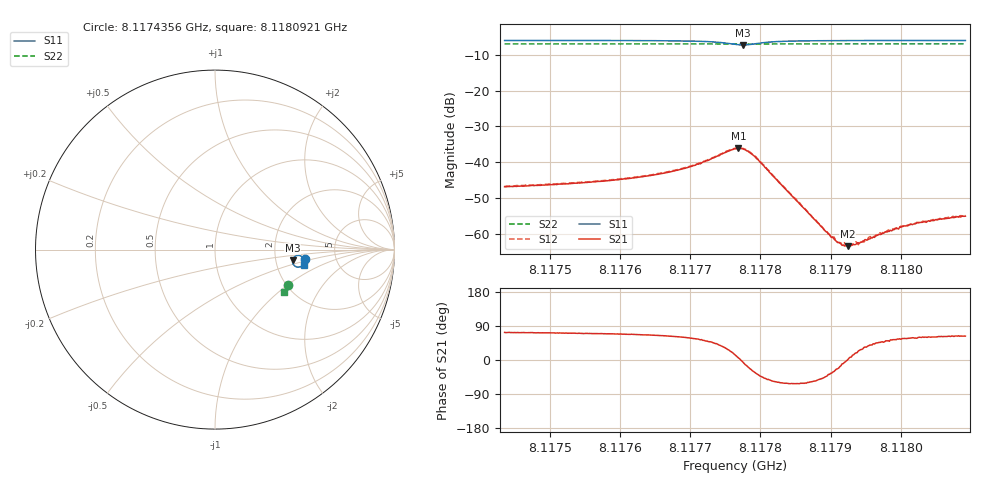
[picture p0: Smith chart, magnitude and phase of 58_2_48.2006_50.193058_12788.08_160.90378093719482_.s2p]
#  HZ  S  RI  R  50.00
! Rohde & Schwarz Vector Network Analyzer
! Rohde-Schwarz,ZNB20-2Port,1311601062101988,3.16
! Created: UTC 3/20/2024, 11:38:39 AM
! freq[Hz]  re:S11  im:S11  re:S21  im:S21  re:S12  im:S12  re:S22  im:S22
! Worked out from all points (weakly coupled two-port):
!   401 points, 8.1174356 GHz to 8.1180921 GHz, reference 50 ohm
!   highest |S21| = -36.16 dB at 8.1177687 GHz (marker M1); lowest = -63.5 dB at 8.1179247 GHz (marker M2)
!   lowest |S11| = -7.2 dB at 8.1177753 GHz (marker M3), VSWR 2.55, Z = 124 - j18.4 ohm
!   |S11| at or under -10 dB: nowhere
!   |S22| runs from -6.9 to -6.9 dB; largest |S21 - S12| = 0.0005
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8.11743558e9  0.5025 -0.0522  0.00134 0.00433  0.00139 0.00437  0.4065 -0.1978
8.11754554e9  0.5005 -0.0631  0.00174 0.00484  0.00184 0.00493  0.4032 -0.205
8.11761119e9  0.498 -0.0711  0.00222 0.00545  0.00231 0.00555  0.4012 -0.2092
8.1176555e9  0.4951 -0.0784  0.00291 0.00616  0.00304 0.00622  0.3996 -0.2122
8.11770474e9  0.4863 -0.0894  0.0049 0.00748  0.00506 0.00756  0.3977 -0.2155
8.11776383e9  0.4368 -0.083  0.0149 0.00366  0.0152 0.00349  0.394 -0.2182
8.11776875e9  0.4327 -0.0741  0.0155 0.00146  0.0158 0.00142  0.3937 -0.218
8.11777531e9  0.4318 -0.0599  0.0152 -0.00165  0.0154 -0.00175  0.3936 -0.2177
8.11778516e9  0.4413 -0.0414  0.0125 -0.00533  0.0127 -0.0055  0.3938 -0.2177
8.11779501e9  0.4566 -0.0329  0.00892 -0.00661  0.00908 -0.00701  0.3943 -0.218
8.11782455e9  0.4861 -0.0403  0.00286 -0.0047  0.0029 -0.00477  0.3947 -0.2205
8.11787379e9  0.4969 -0.0576  0.000921 -0.00142  0.000942 -0.00143  0.3935 -0.2242
8.11789677e9  0.498 -0.0628  0.000777 -0.000609  0.000752 -0.000658  0.3928 -0.2258
8.11790826e9  0.4982 -0.065  0.000714 -0.000318  0.000731 -0.000346  0.3924 -0.2268
8.11791318e9  0.4984 -0.0659  0.000704 -0.000224  0.000718 -0.000213  0.3923 -0.2269
8.11791646e9  0.4985 -0.0665  0.000673 -0.000118  0.000698 -0.000161  0.3922 -0.2273
8.11792467e9  0.4986 -0.0679  0.000666 1.25e-05  0.000705 1.43e-05  0.3919 -0.2278
8.11794272e9  0.4986 -0.0706  0.000676 0.000349  0.000672 0.000318  0.3912 -0.229
8.11795749e9  0.4987 -0.0727  0.000677 0.000555  0.000707 0.000562  0.3908 -0.2297
8.11798375e9  0.4985 -0.0761  0.000698 0.000815  0.000695 0.000865  0.3899 -0.2315
8.11802643e9  0.498 -0.0809  0.000709 0.00124  0.000742 0.00123  0.3884 -0.2342
8.11809208e9  0.4971 -0.0874  0.000795 0.00156  0.000833 0.00161  0.3862 -0.2383
